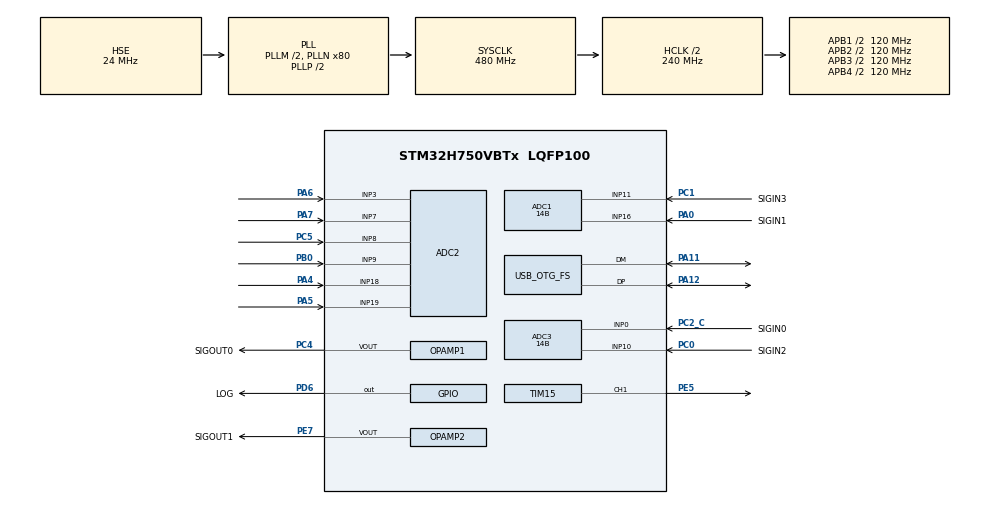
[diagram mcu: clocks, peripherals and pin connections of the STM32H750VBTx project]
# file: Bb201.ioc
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ADC1.Channel-0\#ChannelRegularConversion=ADC_CHANNEL_16
ADC1.Channel-3\#ChannelRegularConversion=ADC_CHANNEL_11
ADC1.ContinuousConvMode=DISABLE
ADC1.ConversionDataManagement=ADC_CONVERSIONDATA_DMA_CIRCULAR
ADC1.EOCSelection=ADC_EOC_SEQ_CONV
ADC1.ExternalTrigConv=ADC_EXTERNALTRIG_T6_TRGO
ADC1.NbrOfConversion=2
ADC1.NbrOfConversionFlag=1
ADC1.OffsetNumber-0\#ChannelRegularConversion=ADC_OFFSET_NONE
ADC1.OffsetNumber-3\#ChannelRegularConversion=ADC_OFFSET_NONE
ADC1.OffsetSignedSaturation-0\#ChannelRegularConversion=DISABLE
ADC1.Rank-0\#ChannelRegularConversion=1
ADC1.Rank-3\#ChannelRegularConversion=2
ADC1.Resolution=ADC_RESOLUTION_14B
ADC1.SamplingTime-0\#ChannelRegularConversion=ADC_SAMPLETIME_1CYCLE_5
ADC1.SamplingTime-3\#ChannelRegularConversion=ADC_SAMPLETIME_1CYCLE_5
ADC1.master=1
ADC2.Channel-0\#ChannelRegularConversion=ADC_CHANNEL_18
ADC2.Channel-1\#ChannelRegularConversion=ADC_CHANNEL_19
ADC2.Channel-2\#ChannelRegularConversion=ADC_CHANNEL_3
ADC2.Channel-3\#ChannelRegularConversion=ADC_CHANNEL_7
ADC2.Channel-4\#ChannelRegularConversion=ADC_CHANNEL_8
ADC2.Channel-5\#ChannelRegularConversion=ADC_CHANNEL_9
ADC2.ContinuousConvMode=DISABLE
ADC2.ConversionDataManagement=ADC_CONVERSIONDATA_DMA_CIRCULAR
ADC2.EOCSelection=ADC_EOC_SEQ_CONV
ADC2.ExternalTrigConv=ADC_EXTERNALTRIG_LPTIM3_OUT
ADC2.NbrOfConversion=6
ADC2.NbrOfConversionFlag=1
ADC2.OffsetNumber-0\#ChannelRegularConversion=ADC_OFFSET_NONE
ADC2.OffsetNumber-1\#ChannelRegularConversion=ADC_OFFSET_NONE
ADC2.OffsetNumber-2\#ChannelRegularConversion=ADC_OFFSET_NONE
ADC2.OffsetNumber-3\#ChannelRegularConversion=ADC_OFFSET_NONE
ADC2.OffsetNumber-4\#ChannelRegularConversion=ADC_OFFSET_NONE
ADC2.OffsetNumber-5\#ChannelRegularConversion=ADC_OFFSET_NONE
ADC2.OffsetSignedSaturation-0\#ChannelRegularConversion=DISABLE
ADC2.OffsetSignedSaturation-1\#ChannelRegularConversion=DISABLE
ADC2.OffsetSignedSaturation-2\#ChannelRegularConversion=DISABLE
ADC2.OffsetSignedSaturation-3\#ChannelRegularConversion=DISABLE
ADC2.OffsetSignedSaturation-4\#ChannelRegularConversion=DISABLE
ADC2.OffsetSignedSaturation-5\#ChannelRegularConversion=DISABLE
ADC2.Rank-0\#ChannelRegularConversion=1
ADC2.Rank-1\#ChannelRegularConversion=2
ADC2.Rank-2\#ChannelRegularConversion=3
ADC2.Rank-3\#ChannelRegularConversion=4
ADC2.Rank-4\#ChannelRegularConversion=5
ADC2.Rank-5\#ChannelRegularConversion=6
ADC2.SamplingTime-0\#ChannelRegularConversion=ADC_SAMPLETIME_32CYCLES_5
ADC2.SamplingTime-1\#ChannelRegularConversion=ADC_SAMPLETIME_32CYCLES_5
ADC2.SamplingTime-2\#ChannelRegularConversion=ADC_SAMPLETIME_32CYCLES_5
ADC2.SamplingTime-3\#ChannelRegularConversion=ADC_SAMPLETIME_32CYCLES_5
ADC2.SamplingTime-4\#ChannelRegularConversion=ADC_SAMPLETIME_32CYCLES_5
ADC2.SamplingTime-5\#ChannelRegularConversion=ADC_SAMPLETIME_32CYCLES_5
ADC3.Channel-0\#ChannelRegularConversion=ADC_CHANNEL_0
ADC3.Channel-3\#ChannelRegularConversion=ADC_CHANNEL_10
ADC3.ClockPrescaler=ADC_CLOCK_ASYNC_DIV1
ADC3.ContinuousConvMode=DISABLE
ADC3.ConversionDataManagement=ADC_CONVERSIONDATA_DMA_CIRCULAR
ADC3.EOCSelection=ADC_EOC_SEQ_CONV
ADC3.ExternalTrigConv=ADC_EXTERNALTRIG_T4_TRGO
ADC3.NbrOfConversion=2
ADC3.NbrOfConversionFlag=1
ADC3.OffsetNumber-0\#ChannelRegularConversion=ADC_OFFSET_NONE
ADC3.OffsetNumber-3\#ChannelRegularConversion=ADC_OFFSET_NONE
ADC3.OffsetSignedSaturation-0\#ChannelRegularConversion=DISABLE
ADC3.OversamplingMode=DISABLE
ADC3.Rank-0\#ChannelRegularConversion=1
ADC3.Rank-3\#ChannelRegularConversion=2
ADC3.Resolution=ADC_RESOLUTION_14B
ADC3.SamplingTime-0\#ChannelRegularConversion=ADC_SAMPLETIME_1CYCLE_5
ADC3.SamplingTime-3\#ChannelRegularConversion=ADC_SAMPLETIME_1CYCLE_5
ARM.CMSIS.5.7.0.CMSISJjCORE=true
ARM.CMSIS.5.7.0.CMSISJjDSP=Library
CORTEX_M7.CPU_ICache=Enabled
DAC1.DAC_Channel-DAC_OUT2_Int=DAC_CHANNEL_2
DAC1.DAC_SampleAndHold-DAC_OUT1_Int=DAC_SAMPLEANDHOLD_DISABLE
DAC1.DAC_Trigger-DAC_OUT1_Int=DAC_TRIGGER_T4_TRGO
DAC1.DAC_Trigger-DAC_OUT2_Int=DAC_TRIGGER_T6_TRGO
DAC1.DAC_UserTrimming-DAC_OUT1_Int=DAC_TRIMMING_FACTORY
Dma.ADC1.0.Direction=DMA_PERIPH_TO_MEMORY
Dma.ADC1.0.EventEnable=DISABLE
Dma.ADC1.0.FIFOMode=DMA_FIFOMODE_DISABLE
Dma.ADC1.0.Instance=DMA1_Stream1
Dma.ADC1.0.MemDataAlignment=DMA_MDATAALIGN_HALFWORD
Dma.ADC1.0.MemInc=DMA_MINC_ENABLE
Dma.ADC1.0.Mode=DMA_CIRCULAR
Dma.ADC1.0.PeriphDataAlignment=DMA_PDATAALIGN_HALFWORD
Dma.ADC1.0.PeriphInc=DMA_PINC_DISABLE
Dma.ADC1.0.Polarity=HAL_DMAMUX_REQ_GEN_RISING
Dma.ADC1.0.Priority=DMA_PRIORITY_LOW
Dma.ADC1.0.RequestNumber=1
Dma.ADC1.0.SignalID=NONE
Dma.ADC1.0.SyncEnable=DISABLE
Dma.ADC1.0.SyncPolarity=HAL_DMAMUX_SYNC_NO_EVENT
Dma.ADC1.0.SyncRequestNumber=1
Dma.ADC1.0.SyncSignalID=NONE
Dma.ADC2.2.Direction=DMA_PERIPH_TO_MEMORY
Dma.ADC2.2.EventEnable=DISABLE
Dma.ADC2.2.FIFOMode=DMA_FIFOMODE_DISABLE
Dma.ADC2.2.Instance=DMA2_Stream0
Dma.ADC2.2.MemDataAlignment=DMA_MDATAALIGN_HALFWORD
Dma.ADC2.2.MemInc=DMA_MINC_ENABLE
Dma.ADC2.2.Mode=DMA_CIRCULAR
Dma.ADC2.2.PeriphDataAlignment=DMA_PDATAALIGN_HALFWORD
Dma.ADC2.2.PeriphInc=DMA_PINC_DISABLE
Dma.ADC2.2.Polarity=HAL_DMAMUX_REQ_GEN_RISING
Dma.ADC2.2.Priority=DMA_PRIORITY_LOW
Dma.ADC2.2.RequestNumber=1
Dma.ADC2.2.SignalID=NONE
Dma.ADC2.2.SyncEnable=DISABLE
Dma.ADC2.2.SyncPolarity=HAL_DMAMUX_SYNC_NO_EVENT
Dma.ADC2.2.SyncRequestNumber=1
Dma.ADC2.2.SyncSignalID=NONE
Dma.ADC3.3.Direction=DMA_PERIPH_TO_MEMORY
Dma.ADC3.3.EventEnable=DISABLE
Dma.ADC3.3.FIFOMode=DMA_FIFOMODE_DISABLE
Dma.ADC3.3.Instance=DMA1_Stream0
Dma.ADC3.3.MemDataAlignment=DMA_MDATAALIGN_HALFWORD
Dma.ADC3.3.MemInc=DMA_MINC_ENABLE
Dma.ADC3.3.Mode=DMA_CIRCULAR
Dma.ADC3.3.PeriphDataAlignment=DMA_PDATAALIGN_HALFWORD
Dma.ADC3.3.PeriphInc=DMA_PINC_DISABLE
Dma.ADC3.3.Polarity=HAL_DMAMUX_REQ_GEN_RISING
Dma.ADC3.3.Priority=DMA_PRIORITY_LOW
Dma.ADC3.3.RequestNumber=1
Dma.ADC3.3.SignalID=NONE
Dma.ADC3.3.SyncEnable=DISABLE
Dma.ADC3.3.SyncPolarity=HAL_DMAMUX_SYNC_NO_EVENT
Dma.ADC3.3.SyncRequestNumber=1
Dma.ADC3.3.SyncSignalID=NONE
Dma.DAC1_CH1.1.Direction=DMA_MEMORY_TO_PERIPH
Dma.DAC1_CH1.1.EventEnable=DISABLE
Dma.DAC1_CH1.1.FIFOMode=DMA_FIFOMODE_DISABLE
Dma.DAC1_CH1.1.Instance=DMA1_Stream2
Dma.DAC1_CH1.1.MemDataAlignment=DMA_MDATAALIGN_HALFWORD
Dma.DAC1_CH1.1.MemInc=DMA_MINC_ENABLE
Dma.DAC1_CH1.1.Mode=DMA_CIRCULAR
Dma.DAC1_CH1.1.PeriphDataAlignment=DMA_PDATAALIGN_HALFWORD
Dma.DAC1_CH1.1.PeriphInc=DMA_PINC_DISABLE
Dma.DAC1_CH1.1.Polarity=HAL_DMAMUX_REQ_GEN_RISING
Dma.DAC1_CH1.1.Priority=DMA_PRIORITY_LOW
Dma.DAC1_CH1.1.RequestNumber=1
Dma.DAC1_CH1.1.SignalID=NONE
Dma.DAC1_CH1.1.SyncEnable=DISABLE
Dma.DAC1_CH1.1.SyncPolarity=HAL_DMAMUX_SYNC_NO_EVENT
Dma.DAC1_CH1.1.SyncRequestNumber=1
Dma.DAC1_CH1.1.SyncSignalID=NONE
Dma.Request0=ADC1
Dma.Request1=DAC1_CH1
Dma.Request2=ADC2
Dma.Request3=ADC3
LPTIM3.ClockPrescaler=LPTIM_PRESCALER_DIV128
Mcu.Family=STM32H7
Mcu.Name=STM32H750VBTx
Mcu.Package=LQFP100
Mdma.MDMA_Channel0.Request0=SW
Mdma.MDMA_Channel0.RequestsNb=1
Mdma.MDMA_Channel0.SW.0.BlockCount=0
Mdma.MDMA_Channel0.SW.0.BlockDataLength=0
Mdma.MDMA_Channel0.SW.0.BufferTransferLength=128
Mdma.MDMA_Channel0.SW.0.CircularMode=MDMA_LINEAR_LIST
Mdma.MDMA_Channel0.SW.0.DataAlignment=MDMA_DATAALIGN_PACKENABLE
Mdma.MDMA_Channel0.SW.0.DestBlockAddressOffset=0
Mdma.MDMA_Channel0.SW.0.DestBurst=MDMA_DEST_BURST_128BEATS
Mdma.MDMA_Channel0.SW.0.DestDataSize=MDMA_DEST_DATASIZE_HALFWORD
Mdma.MDMA_Channel0.SW.0.DestinationInc=MDMA_DEST_INC_HALFWORD
Mdma.MDMA_Channel0.SW.0.DstAddress=0
Mdma.MDMA_Channel0.SW.0.Endianness=MDMA_LITTLE_ENDIANNESS_PRESERVE
Mdma.MDMA_Channel0.SW.0.Instance=MDMA_Channel0
Mdma.MDMA_Channel0.SW.0.MaskAddress=0
Mdma.MDMA_Channel0.SW.0.MaskData=0
Mdma.MDMA_Channel0.SW.0.Priority=MDMA_PRIORITY_LOW
Mdma.MDMA_Channel0.SW.0.Rank=First
Mdma.MDMA_Channel0.SW.0.SourceBlockAddressOffset=0
Mdma.MDMA_Channel0.SW.0.SourceBurst=MDMA_SOURCE_BURST_128BEATS
Mdma.MDMA_Channel0.SW.0.SourceDataSize=MDMA_SRC_DATASIZE_HALFWORD
Mdma.MDMA_Channel0.SW.0.SourceInc=MDMA_SRC_INC_HALFWORD
Mdma.MDMA_Channel0.SW.0.SrcAddress=0
Mdma.MDMA_Channel0.SW.0.TransferTriggerMode=MDMA_BUFFER_TRANSFER
Mdma.MDMA_Channel1.Request0=SW
Mdma.MDMA_Channel1.RequestsNb=1
Mdma.MDMA_Channel1.SW.0.BlockCount=0
Mdma.MDMA_Channel1.SW.0.BlockDataLength=0
Mdma.MDMA_Channel1.SW.0.BufferTransferLength=128
Mdma.MDMA_Channel1.SW.0.CircularMode=MDMA_LINEAR_LIST
Mdma.MDMA_Channel1.SW.0.DataAlignment=MDMA_DATAALIGN_PACKENABLE
Mdma.MDMA_Channel1.SW.0.DestBlockAddressOffset=0
Mdma.MDMA_Channel1.SW.0.DestBurst=MDMA_DEST_BURST_128BEATS
Mdma.MDMA_Channel1.SW.0.DestDataSize=MDMA_DEST_DATASIZE_HALFWORD
Mdma.MDMA_Channel1.SW.0.DestinationInc=MDMA_DEST_INC_HALFWORD
Mdma.MDMA_Channel1.SW.0.DstAddress=0
Mdma.MDMA_Channel1.SW.0.Endianness=MDMA_LITTLE_ENDIANNESS_PRESERVE
Mdma.MDMA_Channel1.SW.0.Instance=MDMA_Channel1
Mdma.MDMA_Channel1.SW.0.MaskAddress=0
Mdma.MDMA_Channel1.SW.0.MaskData=0
Mdma.MDMA_Channel1.SW.0.Priority=MDMA_PRIORITY_LOW
Mdma.MDMA_Channel1.SW.0.Rank=First
Mdma.MDMA_Channel1.SW.0.SourceBlockAddressOffset=0
Mdma.MDMA_Channel1.SW.0.SourceBurst=MDMA_SOURCE_BURST_128BEATS
Mdma.MDMA_Channel1.SW.0.SourceDataSize=MDMA_SRC_DATASIZE_HALFWORD
Mdma.MDMA_Channel1.SW.0.SourceInc=MDMA_SRC_INC_WORD
Mdma.MDMA_Channel1.SW.0.SrcAddress=0
Mdma.MDMA_Channel1.SW.0.TransferTriggerMode=MDMA_BUFFER_TRANSFER
Mdma.RequestSet0=MDMA_Channel0
Mdma.RequestSet1=MDMA_Channel1
Mdma.RequestSetsNb=2
NVIC.DMA1_Stream0_IRQn=true\:0\:0\:false\:false\:true\:false\:true
NVIC.DMA1_Stream1_IRQn=true\:0\:0\:false\:false\:true\:false\:true
NVIC.DMA1_Stream2_IRQn=true\:0\:0\:false\:false\:true\:false\:true
NVIC.DMA2_Stream0_IRQn=true\:0\:0\:false\:false\:true\:false\:true
NVIC.MDMA_IRQn=true\:0\:0\:false\:false\:true\:true\:true
NVIC.OTG_FS_IRQn=true\:0\:0\:false\:false\:true\:false\:true
NVIC.PriorityGroup=NVIC_PRIORITYGROUP_4
NVIC.TIM15_IRQn=true\:0\:0\:false\:false\:true\:true\:true
OPAMP1.PowerMode=OPAMP_POWERMODE_HIGHSPEED
OPAMP1.SelfCalibration=Enable
OPAMP1.UserTrimming=OPAMP_TRIMMING_USER
OPAMP2.PowerMode=OPAMP_POWERMODE_HIGHSPEED
OPAMP2.SelfCalibration=Enable
OPAMP2.UserTrimming=OPAMP_TRIMMING_USER
PA0.GPIO_Label=SIGIN1
PA0.Mode=IN16-Single-Ended
PA0.Signal=ADC1_INP16
PA11.Mode=Device_Only
PA11.Signal=USB_OTG_FS_DM
PA12.Mode=Device_Only
PA12.Signal=USB_OTG_FS_DP
PA13\ (JTMS/SWDIO).Mode=Serial_Wire
PA13\ (JTMS/SWDIO).Signal=DEBUG_JTMS-SWDIO
PA14\ (JTCK/SWCLK).Mode=Serial_Wire
PA14\ (JTCK/SWCLK).Signal=DEBUG_JTCK-SWCLK
PA4.Signal=ADCx_INP18
PA5.Signal=ADCx_INP19
PA6.Signal=ADCx_INP3
PA7.Signal=ADCx_INP7
PB0.Signal=ADCx_INP9
PC0.GPIO_Label=SIGIN2
PC0.Signal=ADCx_INP10
PC1.GPIO_Label=SIGIN3
PC1.Signal=ADCx_INP11
PC2_C.GPIO_Label=SIGIN0
PC2_C.Mode=IN0-Single-Ended
PC2_C.Signal=ADC3_INP0
PC4.GPIO_Label=SIGOUT0
PC4.Mode=Follower-DAC_OUT1-INP
PC4.Signal=OPAMP1_VOUT
PC5.Signal=ADCx_INP8
PD6.GPIO_Label=LOG
PD6.Signal=GPIO_Output
PE5.Signal=S_TIM15_CH1
PE7.GPIO_Label=SIGOUT1
PE7.Mode=Follower-DAC_OUT2-INP
PE7.Signal=OPAMP2_VOUT
PH0-OSC_IN\ (PH0).Mode=HSE-External-Oscillator
PH0-OSC_IN\ (PH0).Signal=RCC_OSC_IN
PH1-OSC_OUT\ (PH1).Mode=HSE-External-Oscillator
PH1-OSC_OUT\ (PH1).Signal=RCC_OSC_OUT
ProjectManager.HeapSize=0x200
ProjectManager.StackSize=0x400
ProjectManager.TargetToolchain=STM32CubeIDE
RCC.ADCCLockSelection=RCC_ADCCLKSOURCE_PLL3
RCC.ADCFreq_Value=40000000
RCC.APB1Freq_Value=120000000
RCC.APB2Freq_Value=120000000
RCC.APB3Freq_Value=120000000
RCC.APB4Freq_Value=120000000
RCC.CKPERSourceSelection=RCC_CLKPSOURCE_HSE
RCC.CortexFreq_Value=480000000
RCC.D1PPRE=RCC_APB3_DIV2
RCC.D2PPRE1=RCC_APB1_DIV2
RCC.D2PPRE2=RCC_APB2_DIV2
RCC.D3PPRE=RCC_APB4_DIV2
RCC.DIVM1=2
RCC.DIVM2=9
RCC.DIVM3=12
RCC.DIVN1=80
RCC.DIVN2=265
RCC.DIVN3=80
RCC.DIVP2=4
RCC.DIVQ1=20
RCC.DIVQ3=4
RCC.DIVR3=4
RCC.HCLKFreq_Value=240000000
RCC.HPRE=RCC_HCLK_DIV2
RCC.HSE_VALUE=24000000
RCC.LPTIM1CLockSelection=RCC_LPTIM1CLKSOURCE_PLL2
RCC.LPTIM2CLockSelection=RCC_LPTIM2CLKSOURCE_PLL2
RCC.LPTIM345CLockSelection=RCC_LPTIM345CLKSOURCE_PLL3
RCC.PLL2FRACN=4096
RCC.PLLFRACN=0
RCC.PLLSourceVirtual=RCC_PLLSOURCE_HSE
RCC.SYSCLKFreq_VALUE=480000000
RCC.SYSCLKSource=RCC_SYSCLKSOURCE_PLLCLK
RCC.USBCLockSelection=RCC_USBCLKSOURCE_HSI48
RCC.USBFreq_Value=48000000
SH.ADCx_INP10.0=ADC3_INP10,IN10-Single-Ended
SH.ADCx_INP11.0=ADC1_INP11,IN11-Single-Ended
SH.ADCx_INP18.0=ADC2_INP18,IN18-Single-Ended
SH.ADCx_INP19.0=ADC2_INP19,IN19-Single-Ended
SH.ADCx_INP3.0=ADC2_INP3,IN3-Single-Ended
SH.ADCx_INP7.0=ADC2_INP7,IN7-Single-Ended
SH.ADCx_INP8.0=ADC2_INP8,IN8-Single-Ended
SH.ADCx_INP9.0=ADC2_INP9,IN9-Single-Ended
SH.S_TIM15_CH1.0=TIM15_CH1,PWM Generation1 CH1
TIM15.Channel-PWM\ Generation1\ CH1=TIM_CHANNEL_1
TIM15.Period=4000
TIM15.Prescaler=48000
TIM15.Pulse-PWM\ Generation1\ CH1=3800
TIM4.Period=5442
TIM4.TIM_MasterOutputTrigger=TIM_TRGO_UPDATE
TIM6.Period=5442
TIM6.TIM_MasterOutputTrigger=TIM_TRGO_UPDATE
USB_DEVICE.CLASS_NAME_FS=CDC
USB_DEVICE.VirtualMode-CDC_FS=Cdc
USB_DEVICE.VirtualModeFS=Cdc_FS
USB_OTG_FS.VirtualMode=Device_Only
VP_ARM.CMSIS_VS_CMSISJjDSP_1.8.0_5.7.0.Mode=CMSISJjDSP
VP_DAC1_VS_DACI1.Mode=DAC_OUT1_Int
VP_DAC1_VS_DACI2.Mode=DAC_OUT2_Int
VP_LPTIM3_VS_LPTIM_counterModeInternalClock.Mode=Counts__internal_clock_event_00
VP_TIM4_VS_ClockSourceINT.Mode=Internal
VP_TIM6_VS_ClockSourceINT.Mode=Enable_Timer
VP_USB_DEVICE_VS_USB_DEVICE_CDC_FS.Mode=CDC_FS
board=custom

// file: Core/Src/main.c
/* USER CODE BEGIN Header */
/**
  ******************************************************************************
  * @file           : main.c
  * @brief          : Main program body
  ******************************************************************************
  * @attention
  *
  * <h2><center>&copy; Copyright (c) 2020 STMicroelectronics.
  * All rights reserved.</center></h2>
  *
  * This software component is licensed by ST under BSD 3-Clause license,
  * the "License"; You may not use this file except in compliance with the
  * License. You may obtain a copy of the License at:
  *                        opensource.org/licenses/BSD-3-Clause
  *
  ******************************************************************************
  */
/* USER CODE END Header */
#include "main.h"
#include "usb_device.h"

ADC_HandleTypeDef hadc1;
ADC_HandleTypeDef hadc2;
ADC_HandleTypeDef hadc3;
DMA_HandleTypeDef hdma_adc1;
DMA_HandleTypeDef hdma_adc2;
DMA_HandleTypeDef hdma_adc3;

DAC_HandleTypeDef hdac1;
DMA_HandleTypeDef hdma_dac1_ch1;

LPTIM_HandleTypeDef hlptim3;

OPAMP_HandleTypeDef hopamp1;
OPAMP_HandleTypeDef hopamp2;

TIM_HandleTypeDef htim4;
TIM_HandleTypeDef htim6;
TIM_HandleTypeDef htim15;

MDMA_HandleTypeDef hmdma_mdma_channel40_sw_0;
MDMA_HandleTypeDef hmdma_mdma_channel41_sw_0;

void SystemClock_Config(void);
static void MX_GPIO_Init(void);
static void MX_DMA_Init(void);
static void MX_MDMA_Init(void);
static void MX_DAC1_Init(void);
static void MX_OPAMP1_Init(void);
static void MX_ADC1_Init(void);
static void MX_ADC3_Init(void);
static void MX_TIM15_Init(void);
static void MX_OPAMP2_Init(void);
static void MX_ADC2_Init(void);
static void MX_LPTIM3_Init(void);
static void MX_TIM6_Init(void);
static void MX_TIM4_Init(void);

/* USER CODE BEGIN 0 */
void reset_mdma(void)
{
	  MX_MDMA_Init();
}

#define Ntap 20
extern	float fFIRCoef[Ntap];
/* USER CODE END 0 */

int main(void)
{

  /* Enable I-Cache---------------------------------------------------------*/
  SCB_EnableICache();

  /* MCU Configuration--------------------------------------------------------*/

  /* Reset of all peripherals, Initializes the Flash interface and the Systick. */
  HAL_Init();

  /* Configure the system clock */
  SystemClock_Config();

  /* Initialize all configured peripherals */
  MX_GPIO_Init();
  MX_DMA_Init();
  MX_MDMA_Init();
  MX_DAC1_Init();
  MX_OPAMP1_Init();
  MX_ADC1_Init();
  MX_ADC3_Init();
  MX_TIM15_Init();
  MX_USB_DEVICE_Init();
  MX_OPAMP2_Init();
  MX_ADC2_Init();
  MX_LPTIM3_Init();
  MX_TIM6_Init();
  MX_TIM4_Init();
  /* USER CODE BEGIN 2 */
  AudioInit();
  ControlInit();
  FirInit(fFIRCoef);
  HAL_TIM_PWM_Start_IT(&htim15,TIM_CHANNEL_1);
  /* USER CODE END 2 */

  /* Infinite loop */
  /* USER CODE BEGIN WHILE */
  while (1)
  {
	  if ( audioin_buffer_ready == 1 )
	  {
		  audioin_buffer_ready = 0;
		  do_workbuf_in();
		  do_workbuf_out();
	  }
	  if ( control_ready == 1 )
	  {
		  control_ready = 0;
		  ain0 = control_buf[AIN0];
		  ain1 = control_buf[AIN1];
		  ain2 = control_buf[AIN2];
		  ain3 = control_buf[AIN3];
		  ain4 = control_buf[AIN4];
		  ain5 = control_buf[AIN5];
	  }
    /* USER CODE END WHILE */

  }
}

void SystemClock_Config(void)
{
  RCC_OscInitTypeDef RCC_OscInitStruct = {0};
  RCC_ClkInitTypeDef RCC_ClkInitStruct = {0};
  RCC_PeriphCLKInitTypeDef PeriphClkInitStruct = {0};

  /** Supply configuration update enable
  */
  HAL_PWREx_ConfigSupply(PWR_LDO_SUPPLY);
  /** Configure the main internal regulator output voltage
  */
  __HAL_PWR_VOLTAGESCALING_CONFIG(PWR_REGULATOR_VOLTAGE_SCALE0);

  while(!__HAL_PWR_GET_FLAG(PWR_FLAG_VOSRDY)) {}
  /** Macro to configure the PLL clock source
  */
  __HAL_RCC_PLL_PLLSOURCE_CONFIG(RCC_PLLSOURCE_HSE);
  /** Initializes the RCC Oscillators according to the specified parameters
  * in the RCC_OscInitTypeDef structure.
  */
  RCC_OscInitStruct.OscillatorType = RCC_OSCILLATORTYPE_HSI48|RCC_OSCILLATORTYPE_HSE;
  RCC_OscInitStruct.HSEState = RCC_HSE_ON;
  RCC_OscInitStruct.HSI48State = RCC_HSI48_ON;
  RCC_OscInitStruct.PLL.PLLState = RCC_PLL_ON;
  RCC_OscInitStruct.PLL.PLLSource = RCC_PLLSOURCE_HSE;
  RCC_OscInitStruct.PLL.PLLM = 2;
  RCC_OscInitStruct.PLL.PLLN = 80;
  RCC_OscInitStruct.PLL.PLLP = 2;
  RCC_OscInitStruct.PLL.PLLQ = 20;
  RCC_OscInitStruct.PLL.PLLR = 2;
  RCC_OscInitStruct.PLL.PLLRGE = RCC_PLL1VCIRANGE_3;
  RCC_OscInitStruct.PLL.PLLVCOSEL = RCC_PLL1VCOWIDE;
  RCC_OscInitStruct.PLL.PLLFRACN = 0;
  if (HAL_RCC_OscConfig(&RCC_OscInitStruct) != HAL_OK)
  {
    Error_Handler();
  }
  /** Initializes the CPU, AHB and APB buses clocks
  */
  RCC_ClkInitStruct.ClockType = RCC_CLOCKTYPE_HCLK|RCC_CLOCKTYPE_SYSCLK
                              |RCC_CLOCKTYPE_PCLK1|RCC_CLOCKTYPE_PCLK2
                              |RCC_CLOCKTYPE_D3PCLK1|RCC_CLOCKTYPE_D1PCLK1;
  RCC_ClkInitStruct.SYSCLKSource = RCC_SYSCLKSOURCE_PLLCLK;
  RCC_ClkInitStruct.SYSCLKDivider = RCC_SYSCLK_DIV1;
  RCC_ClkInitStruct.AHBCLKDivider = RCC_HCLK_DIV2;
  RCC_ClkInitStruct.APB3CLKDivider = RCC_APB3_DIV2;
  RCC_ClkInitStruct.APB1CLKDivider = RCC_APB1_DIV2;
  RCC_ClkInitStruct.APB2CLKDivider = RCC_APB2_DIV2;
  RCC_ClkInitStruct.APB4CLKDivider = RCC_APB4_DIV2;

  if (HAL_RCC_ClockConfig(&RCC_ClkInitStruct, FLASH_LATENCY_4) != HAL_OK)
  {
    Error_Handler();
  }
  PeriphClkInitStruct.PeriphClockSelection = RCC_PERIPHCLK_ADC|RCC_PERIPHCLK_LPTIM3
                              |RCC_PERIPHCLK_USB;
  PeriphClkInitStruct.PLL3.PLL3M = 12;
  PeriphClkInitStruct.PLL3.PLL3N = 80;
  PeriphClkInitStruct.PLL3.PLL3P = 2;
  PeriphClkInitStruct.PLL3.PLL3Q = 4;
  PeriphClkInitStruct.PLL3.PLL3R = 4;
  PeriphClkInitStruct.PLL3.PLL3RGE = RCC_PLL3VCIRANGE_1;
  PeriphClkInitStruct.PLL3.PLL3VCOSEL = RCC_PLL3VCOMEDIUM;
  PeriphClkInitStruct.PLL3.PLL3FRACN = 0;
  PeriphClkInitStruct.UsbClockSelection = RCC_USBCLKSOURCE_HSI48;
  PeriphClkInitStruct.Lptim345ClockSelection = RCC_LPTIM345CLKSOURCE_PLL3;
  PeriphClkInitStruct.AdcClockSelection = RCC_ADCCLKSOURCE_PLL3;
  if (HAL_RCCEx_PeriphCLKConfig(&PeriphClkInitStruct) != HAL_OK)
  {
    Error_Handler();
  }
  /** Enable USB Voltage detector
  */
  HAL_PWREx_EnableUSBVoltageDetector();
}

static void MX_ADC1_Init(void)
{

  ADC_MultiModeTypeDef multimode = {0};
  ADC_ChannelConfTypeDef sConfig = {0};

  /** Common config
  */
  hadc1.Instance = ADC1;
  hadc1.Init.ClockPrescaler = ADC_CLOCK_ASYNC_DIV1;
  hadc1.Init.Resolution = ADC_RESOLUTION_14B;
  hadc1.Init.ScanConvMode = ADC_SCAN_ENABLE;
  hadc1.Init.EOCSelection = ADC_EOC_SEQ_CONV;
  hadc1.Init.LowPowerAutoWait = DISABLE;
  hadc1.Init.ContinuousConvMode = DISABLE;
  hadc1.Init.NbrOfConversion = 2;
  hadc1.Init.DiscontinuousConvMode = DISABLE;
  hadc1.Init.ExternalTrigConv = ADC_EXTERNALTRIG_T6_TRGO;
  hadc1.Init.ExternalTrigConvEdge = ADC_EXTERNALTRIGCONVEDGE_RISING;
  hadc1.Init.ConversionDataManagement = ADC_CONVERSIONDATA_DMA_CIRCULAR;
  hadc1.Init.Overrun = ADC_OVR_DATA_PRESERVED;
  hadc1.Init.LeftBitShift = ADC_LEFTBITSHIFT_NONE;
  hadc1.Init.OversamplingMode = DISABLE;
  if (HAL_ADC_Init(&hadc1) != HAL_OK)
  {
    Error_Handler();
  }
  /** Configure the ADC multi-mode
  */
  multimode.Mode = ADC_MODE_INDEPENDENT;
  if (HAL_ADCEx_MultiModeConfigChannel(&hadc1, &multimode) != HAL_OK)
  {
    Error_Handler();
  }
  /** Configure Regular Channel
  */
  sConfig.Channel = ADC_CHANNEL_16;
  sConfig.Rank = ADC_REGULAR_RANK_1;
  sConfig.SamplingTime = ADC_SAMPLETIME_1CYCLE_5;
  sConfig.SingleDiff = ADC_SINGLE_ENDED;
  sConfig.OffsetNumber = ADC_OFFSET_NONE;
  sConfig.Offset = 0;
  sConfig.OffsetSignedSaturation = DISABLE;
  if (HAL_ADC_ConfigChannel(&hadc1, &sConfig) != HAL_OK)
  {
    Error_Handler();
  }
  /** Configure Regular Channel
  */
  sConfig.Channel = ADC_CHANNEL_11;
  sConfig.Rank = ADC_REGULAR_RANK_2;
  if (HAL_ADC_ConfigChannel(&hadc1, &sConfig) != HAL_OK)
  {
    Error_Handler();
  }

}

static void MX_ADC2_Init(void)
{

  ADC_ChannelConfTypeDef sConfig = {0};

  /** Common config
  */
  hadc2.Instance = ADC2;
  hadc2.Init.ClockPrescaler = ADC_CLOCK_ASYNC_DIV1;
  hadc2.Init.Resolution = ADC_RESOLUTION_16B;
  hadc2.Init.ScanConvMode = ADC_SCAN_ENABLE;
  hadc2.Init.EOCSelection = ADC_EOC_SEQ_CONV;
  hadc2.Init.LowPowerAutoWait = DISABLE;
  hadc2.Init.ContinuousConvMode = DISABLE;
  hadc2.Init.NbrOfConversion = 6;
  hadc2.Init.DiscontinuousConvMode = DISABLE;
  hadc2.Init.ExternalTrigConv = ADC_EXTERNALTRIG_LPTIM3_OUT;
  hadc2.Init.ExternalTrigConvEdge = ADC_EXTERNALTRIGCONVEDGE_RISING;
  hadc2.Init.ConversionDataManagement = ADC_CONVERSIONDATA_DMA_CIRCULAR;
  hadc2.Init.Overrun = ADC_OVR_DATA_PRESERVED;
  hadc2.Init.LeftBitShift = ADC_LEFTBITSHIFT_NONE;
  hadc2.Init.OversamplingMode = DISABLE;
  if (HAL_ADC_Init(&hadc2) != HAL_OK)
  {
    Error_Handler();
  }
  /** Configure Regular Channel
  */
  sConfig.Channel = ADC_CHANNEL_18;
  sConfig.Rank = ADC_REGULAR_RANK_1;
  sConfig.SamplingTime = ADC_SAMPLETIME_32CYCLES_5;
  sConfig.SingleDiff = ADC_SINGLE_ENDED;
  sConfig.OffsetNumber = ADC_OFFSET_NONE;
  sConfig.Offset = 0;
  sConfig.OffsetSignedSaturation = DISABLE;
  if (HAL_ADC_ConfigChannel(&hadc2, &sConfig) != HAL_OK)
  {
    Error_Handler();
  }
  /** Configure Regular Channel
  */
  sConfig.Channel = ADC_CHANNEL_19;
  sConfig.Rank = ADC_REGULAR_RANK_2;
  if (HAL_ADC_ConfigChannel(&hadc2, &sConfig) != HAL_OK)
  {
    Error_Handler();
  }
  /** Configure Regular Channel
  */
  sConfig.Channel = ADC_CHANNEL_3;
  sConfig.Rank = ADC_REGULAR_RANK_3;
  if (HAL_ADC_ConfigChannel(&hadc2, &sConfig) != HAL_OK)
  {
    Error_Handler();
  }
  /** Configure Regular Channel
  */
  sConfig.Channel = ADC_CHANNEL_7;
  sConfig.Rank = ADC_REGULAR_RANK_4;
  if (HAL_ADC_ConfigChannel(&hadc2, &sConfig) != HAL_OK)
  {
    Error_Handler();
  }
  /** Configure Regular Channel
  */
  sConfig.Channel = ADC_CHANNEL_8;
  sConfig.Rank = ADC_REGULAR_RANK_5;
  if (HAL_ADC_ConfigChannel(&hadc2, &sConfig) != HAL_OK)
  {
    Error_Handler();
  }
  /** Configure Regular Channel
  */
  sConfig.Channel = ADC_CHANNEL_9;
  sConfig.Rank = ADC_REGULAR_RANK_6;
  if (HAL_ADC_ConfigChannel(&hadc2, &sConfig) != HAL_OK)
  {
    Error_Handler();
  }

}

static void MX_ADC3_Init(void)
{

  ADC_ChannelConfTypeDef sConfig = {0};

  /** Common config
  */
  hadc3.Instance = ADC3;
  hadc3.Init.ClockPrescaler = ADC_CLOCK_ASYNC_DIV1;
  hadc3.Init.Resolution = ADC_RESOLUTION_14B;
  hadc3.Init.ScanConvMode = ADC_SCAN_ENABLE;
  hadc3.Init.EOCSelection = ADC_EOC_SEQ_CONV;
  hadc3.Init.LowPowerAutoWait = DISABLE;
  hadc3.Init.ContinuousConvMode = DISABLE;
  hadc3.Init.NbrOfConversion = 2;
  hadc3.Init.DiscontinuousConvMode = DISABLE;
  hadc3.Init.ExternalTrigConv = ADC_EXTERNALTRIG_T4_TRGO;
  hadc3.Init.ExternalTrigConvEdge = ADC_EXTERNALTRIGCONVEDGE_RISING;
  hadc3.Init.ConversionDataManagement = ADC_CONVERSIONDATA_DMA_CIRCULAR;
  hadc3.Init.Overrun = ADC_OVR_DATA_PRESERVED;
  hadc3.Init.LeftBitShift = ADC_LEFTBITSHIFT_NONE;
  hadc3.Init.OversamplingMode = DISABLE;
  if (HAL_ADC_Init(&hadc3) != HAL_OK)
  {
    Error_Handler();
  }
  /** Configure Regular Channel
  */
  sConfig.Channel = ADC_CHANNEL_0;
  sConfig.Rank = ADC_REGULAR_RANK_1;
  sConfig.SamplingTime = ADC_SAMPLETIME_1CYCLE_5;
  sConfig.SingleDiff = ADC_SINGLE_ENDED;
  sConfig.OffsetNumber = ADC_OFFSET_NONE;
  sConfig.Offset = 0;
  sConfig.OffsetSignedSaturation = DISABLE;
  if (HAL_ADC_ConfigChannel(&hadc3, &sConfig) != HAL_OK)
  {
    Error_Handler();
  }
  /** Configure Regular Channel
  */
  sConfig.Channel = ADC_CHANNEL_10;
  sConfig.Rank = ADC_REGULAR_RANK_2;
  if (HAL_ADC_ConfigChannel(&hadc3, &sConfig) != HAL_OK)
  {
    Error_Handler();
  }

}

static void MX_DAC1_Init(void)
{

  DAC_ChannelConfTypeDef sConfig = {0};

  /** DAC Initialization
  */
  hdac1.Instance = DAC1;
  if (HAL_DAC_Init(&hdac1) != HAL_OK)
  {
    Error_Handler();
  }
  /** DAC channel OUT1 config
  */
  sConfig.DAC_SampleAndHold = DAC_SAMPLEANDHOLD_DISABLE;
  sConfig.DAC_Trigger = DAC_TRIGGER_T4_TRGO;
  sConfig.DAC_OutputBuffer = DAC_OUTPUTBUFFER_DISABLE;
  sConfig.DAC_ConnectOnChipPeripheral = DAC_CHIPCONNECT_ENABLE;
  sConfig.DAC_UserTrimming = DAC_TRIMMING_FACTORY;
  if (HAL_DAC_ConfigChannel(&hdac1, &sConfig, DAC_CHANNEL_1) != HAL_OK)
  {
    Error_Handler();
  }
  /** DAC channel OUT2 config
  */
  sConfig.DAC_Trigger = DAC_TRIGGER_T6_TRGO;
  sConfig.DAC_ConnectOnChipPeripheral = DAC_CHIPCONNECT_ENABLE;
  if (HAL_DAC_ConfigChannel(&hdac1, &sConfig, DAC_CHANNEL_2) != HAL_OK)
  {
    Error_Handler();
  }

}

static void MX_LPTIM3_Init(void)
{

  hlptim3.Instance = LPTIM3;
  hlptim3.Init.Clock.Source = LPTIM_CLOCKSOURCE_APBCLOCK_LPOSC;
  hlptim3.Init.Clock.Prescaler = LPTIM_PRESCALER_DIV128;
  hlptim3.Init.Trigger.Source = LPTIM_TRIGSOURCE_SOFTWARE;
  hlptim3.Init.OutputPolarity = LPTIM_OUTPUTPOLARITY_HIGH;
  hlptim3.Init.UpdateMode = LPTIM_UPDATE_IMMEDIATE;
  hlptim3.Init.CounterSource = LPTIM_COUNTERSOURCE_INTERNAL;
  hlptim3.Init.Input1Source = LPTIM_INPUT1SOURCE_GPIO;
  if (HAL_LPTIM_Init(&hlptim3) != HAL_OK)
  {
    Error_Handler();
  }

}

static void MX_OPAMP1_Init(void)
{

  hopamp1.Instance = OPAMP1;
  hopamp1.Init.Mode = OPAMP_FOLLOWER_MODE;
  hopamp1.Init.NonInvertingInput = OPAMP_NONINVERTINGINPUT_DAC_CH;
  hopamp1.Init.PowerMode = OPAMP_POWERMODE_HIGHSPEED;
  hopamp1.Init.UserTrimming = OPAMP_TRIMMING_USER;
  hopamp1.Init.TrimmingValuePHighSpeed = 15;
  hopamp1.Init.TrimmingValueNHighSpeed = 15;
  if (HAL_OPAMP_Init(&hopamp1) != HAL_OK)
  {
    Error_Handler();
  }
  if (HAL_OPAMP_SelfCalibrate(&hopamp1) != HAL_OK)
  {
    Error_Handler();
  }

}

static void MX_OPAMP2_Init(void)
{

  hopamp2.Instance = OPAMP2;
  hopamp2.Init.Mode = OPAMP_FOLLOWER_MODE;
  hopamp2.Init.NonInvertingInput = OPAMP_NONINVERTINGINPUT_DAC_CH;
  hopamp2.Init.PowerMode = OPAMP_POWERMODE_HIGHSPEED;
  hopamp2.Init.UserTrimming = OPAMP_TRIMMING_USER;
  hopamp2.Init.TrimmingValuePHighSpeed = 15;
  hopamp2.Init.TrimmingValueNHighSpeed = 15;
  if (HAL_OPAMP_Init(&hopamp2) != HAL_OK)
  {
    Error_Handler();
  }
  if (HAL_OPAMP_SelfCalibrate(&hopamp2) != HAL_OK)
  {
    Error_Handler();
  }

}

static void MX_TIM4_Init(void)
{

  TIM_ClockConfigTypeDef sClockSourceConfig = {0};
  TIM_MasterConfigTypeDef sMasterConfig = {0};

  htim4.Instance = TIM4;
  htim4.Init.Prescaler = 0;
  htim4.Init.CounterMode = TIM_COUNTERMODE_UP;
  htim4.Init.Period = 5442;
  htim4.Init.ClockDivision = TIM_CLOCKDIVISION_DIV1;
  htim4.Init.AutoReloadPreload = TIM_AUTORELOAD_PRELOAD_DISABLE;
  if (HAL_TIM_Base_Init(&htim4) != HAL_OK)
  {
    Error_Handler();
  }
  sClockSourceConfig.ClockSource = TIM_CLOCKSOURCE_INTERNAL;
  if (HAL_TIM_ConfigClockSource(&htim4, &sClockSourceConfig) != HAL_OK)
  {
    Error_Handler();
  }
  sMasterConfig.MasterOutputTrigger = TIM_TRGO_UPDATE;
  sMasterConfig.MasterSlaveMode = TIM_MASTERSLAVEMODE_DISABLE;
  if (HAL_TIMEx_MasterConfigSynchronization(&htim4, &sMasterConfig) != HAL_OK)
  {
    Error_Handler();
  }

}

static void MX_TIM6_Init(void)
{

  TIM_MasterConfigTypeDef sMasterConfig = {0};

  htim6.Instance = TIM6;
  htim6.Init.Prescaler = 0;
  htim6.Init.CounterMode = TIM_COUNTERMODE_UP;
  htim6.Init.Period = 5442;
  htim6.Init.AutoReloadPreload = TIM_AUTORELOAD_PRELOAD_DISABLE;
  if (HAL_TIM_Base_Init(&htim6) != HAL_OK)
  {
    Error_Handler();
  }
  sMasterConfig.MasterOutputTrigger = TIM_TRGO_UPDATE;
  sMasterConfig.MasterSlaveMode = TIM_MASTERSLAVEMODE_DISABLE;
  if (HAL_TIMEx_MasterConfigSynchronization(&htim6, &sMasterConfig) != HAL_OK)
  {
    Error_Handler();
  }

}

static void MX_TIM15_Init(void)
{

  TIM_MasterConfigTypeDef sMasterConfig = {0};
  TIM_OC_InitTypeDef sConfigOC = {0};
  TIM_BreakDeadTimeConfigTypeDef sBreakDeadTimeConfig = {0};

  htim15.Instance = TIM15;
  htim15.Init.Prescaler = 48000;
  htim15.Init.CounterMode = TIM_COUNTERMODE_UP;
  htim15.Init.Period = 4000;
  htim15.Init.ClockDivision = TIM_CLOCKDIVISION_DIV1;
  htim15.Init.RepetitionCounter = 0;
  htim15.Init.AutoReloadPreload = TIM_AUTORELOAD_PRELOAD_DISABLE;
  if (HAL_TIM_PWM_Init(&htim15) != HAL_OK)
  {
    Error_Handler();
  }
  sMasterConfig.MasterOutputTrigger = TIM_TRGO_RESET;
  sMasterConfig.MasterSlaveMode = TIM_MASTERSLAVEMODE_DISABLE;
  if (HAL_TIMEx_MasterConfigSynchronization(&htim15, &sMasterConfig) != HAL_OK)
  {
    Error_Handler();
  }
  sConfigOC.OCMode = TIM_OCMODE_PWM1;
  sConfigOC.Pulse = 3800;
  sConfigOC.OCPolarity = TIM_OCPOLARITY_HIGH;
  sConfigOC.OCNPolarity = TIM_OCNPOLARITY_HIGH;
  sConfigOC.OCFastMode = TIM_OCFAST_DISABLE;
  sConfigOC.OCIdleState = TIM_OCIDLESTATE_RESET;
  sConfigOC.OCNIdleState = TIM_OCNIDLESTATE_RESET;
  if (HAL_TIM_PWM_ConfigChannel(&htim15, &sConfigOC, TIM_CHANNEL_1) != HAL_OK)
  {
    Error_Handler();
  }
  sBreakDeadTimeConfig.OffStateRunMode = TIM_OSSR_DISABLE;
  sBreakDeadTimeConfig.OffStateIDLEMode = TIM_OSSI_DISABLE;
  sBreakDeadTimeConfig.LockLevel = TIM_LOCKLEVEL_OFF;
  sBreakDeadTimeConfig.DeadTime = 0;
  sBreakDeadTimeConfig.BreakState = TIM_BREAK_DISABLE;
  sBreakDeadTimeConfig.BreakPolarity = TIM_BREAKPOLARITY_HIGH;
  sBreakDeadTimeConfig.BreakFilter = 0;
  sBreakDeadTimeConfig.AutomaticOutput = TIM_AUTOMATICOUTPUT_DISABLE;
  if (HAL_TIMEx_ConfigBreakDeadTime(&htim15, &sBreakDeadTimeConfig) != HAL_OK)
  {
    Error_Handler();
  }
  HAL_TIM_MspPostInit(&htim15);

}

static void MX_DMA_Init(void)
{

  /* DMA controller clock enable */
  __HAL_RCC_DMA1_CLK_ENABLE();
  __HAL_RCC_DMA2_CLK_ENABLE();

  /* DMA interrupt init */
  /* DMA1_Stream0_IRQn interrupt configuration */
  HAL_NVIC_SetPriority(DMA1_Stream0_IRQn, 0, 0);
  HAL_NVIC_EnableIRQ(DMA1_Stream0_IRQn);
  /* DMA1_Stream1_IRQn interrupt configuration */
  HAL_NVIC_SetPriority(DMA1_Stream1_IRQn, 0, 0);
  HAL_NVIC_EnableIRQ(DMA1_Stream1_IRQn);
  /* DMA1_Stream2_IRQn interrupt configuration */
  HAL_NVIC_SetPriority(DMA1_Stream2_IRQn, 0, 0);
  HAL_NVIC_EnableIRQ(DMA1_Stream2_IRQn);
  /* DMA2_Stream0_IRQn interrupt configuration */
  HAL_NVIC_SetPriority(DMA2_Stream0_IRQn, 0, 0);
  HAL_NVIC_EnableIRQ(DMA2_Stream0_IRQn);

}

/**
  * Enable MDMA controller clock
  * Configure MDMA for global transfers
  *   hmdma_mdma_channel40_sw_0
  *   hmdma_mdma_channel41_sw_0
  */
static void MX_MDMA_Init(void)
{

  /* MDMA controller clock enable */
  __HAL_RCC_MDMA_CLK_ENABLE();
  /* Local variables */

  /* Configure MDMA channel MDMA_Channel0 */
  /* Configure MDMA request hmdma_mdma_channel40_sw_0 on MDMA_Channel0 */
  hmdma_mdma_channel40_sw_0.Instance = MDMA_Channel0;
  hmdma_mdma_channel40_sw_0.Init.Request = MDMA_REQUEST_SW;
  hmdma_mdma_channel40_sw_0.Init.TransferTriggerMode = MDMA_BUFFER_TRANSFER;
  hmdma_mdma_channel40_sw_0.Init.Priority = MDMA_PRIORITY_LOW;
  hmdma_mdma_channel40_sw_0.Init.Endianness = MDMA_LITTLE_ENDIANNESS_PRESERVE;
  hmdma_mdma_channel40_sw_0.Init.SourceInc = MDMA_SRC_INC_HALFWORD;
  hmdma_mdma_channel40_sw_0.Init.DestinationInc = MDMA_DEST_INC_HALFWORD;
  hmdma_mdma_channel40_sw_0.Init.SourceDataSize = MDMA_SRC_DATASIZE_HALFWORD;
  hmdma_mdma_channel40_sw_0.Init.DestDataSize = MDMA_DEST_DATASIZE_HALFWORD;
  hmdma_mdma_channel40_sw_0.Init.DataAlignment = MDMA_DATAALIGN_PACKENABLE;
  hmdma_mdma_channel40_sw_0.Init.BufferTransferLength = 128;
  hmdma_mdma_channel40_sw_0.Init.SourceBurst = MDMA_SOURCE_BURST_128BEATS;
  hmdma_mdma_channel40_sw_0.Init.DestBurst = MDMA_DEST_BURST_128BEATS;
  hmdma_mdma_channel40_sw_0.Init.SourceBlockAddressOffset = 0;
  hmdma_mdma_channel40_sw_0.Init.DestBlockAddressOffset = 0;
  if (HAL_MDMA_Init(&hmdma_mdma_channel40_sw_0) != HAL_OK)
  {
    Error_Handler();
  }

  /* Configure MDMA channel MDMA_Channel1 */
  /* Configure MDMA request hmdma_mdma_channel41_sw_0 on MDMA_Channel1 */
  hmdma_mdma_channel41_sw_0.Instance = MDMA_Channel1;
  hmdma_mdma_channel41_sw_0.Init.Request = MDMA_REQUEST_SW;
  hmdma_mdma_channel41_sw_0.Init.TransferTriggerMode = MDMA_BUFFER_TRANSFER;
  hmdma_mdma_channel41_sw_0.Init.Priority = MDMA_PRIORITY_LOW;
  hmdma_mdma_channel41_sw_0.Init.Endianness = MDMA_LITTLE_ENDIANNESS_PRESERVE;
  hmdma_mdma_channel41_sw_0.Init.SourceInc = MDMA_SRC_INC_WORD;
  hmdma_mdma_channel41_sw_0.Init.DestinationInc = MDMA_DEST_INC_HALFWORD;
  hmdma_mdma_channel41_sw_0.Init.SourceDataSize = MDMA_SRC_DATASIZE_HALFWORD;
  hmdma_mdma_channel41_sw_0.Init.DestDataSize = MDMA_DEST_DATASIZE_HALFWORD;
  hmdma_mdma_channel41_sw_0.Init.DataAlignment = MDMA_DATAALIGN_PACKENABLE;
  hmdma_mdma_channel41_sw_0.Init.BufferTransferLength = 128;
  hmdma_mdma_channel41_sw_0.Init.SourceBurst = MDMA_SOURCE_BURST_128BEATS;
  hmdma_mdma_channel41_sw_0.Init.DestBurst = MDMA_DEST_BURST_128BEATS;
  hmdma_mdma_channel41_sw_0.Init.SourceBlockAddressOffset = 0;
  hmdma_mdma_channel41_sw_0.Init.DestBlockAddressOffset = 0;
  if (HAL_MDMA_Init(&hmdma_mdma_channel41_sw_0) != HAL_OK)
  {
    Error_Handler();
  }

  /* MDMA interrupt initialization */
  /* MDMA_IRQn interrupt configuration */
  HAL_NVIC_SetPriority(MDMA_IRQn, 0, 0);
  HAL_NVIC_EnableIRQ(MDMA_IRQn);

}

static void MX_GPIO_Init(void)
{
  GPIO_InitTypeDef GPIO_InitStruct = {0};

  /* GPIO Ports Clock Enable */
  __HAL_RCC_GPIOE_CLK_ENABLE();
  __HAL_RCC_GPIOH_CLK_ENABLE();
  __HAL_RCC_GPIOC_CLK_ENABLE();
  __HAL_RCC_GPIOA_CLK_ENABLE();
  __HAL_RCC_GPIOB_CLK_ENABLE();
  __HAL_RCC_GPIOD_CLK_ENABLE();

  /*Configure GPIO pin Output Level */
  HAL_GPIO_WritePin(LOG_GPIO_Port, LOG_Pin, GPIO_PIN_RESET);

  /*Configure GPIO pin : LOG_Pin */
  GPIO_InitStruct.Pin = LOG_Pin;
  GPIO_InitStruct.Mode = GPIO_MODE_OUTPUT_PP;
  GPIO_InitStruct.Pull = GPIO_NOPULL;
  GPIO_InitStruct.Speed = GPIO_SPEED_FREQ_LOW;
  HAL_GPIO_Init(LOG_GPIO_Port, &GPIO_InitStruct);

}

void Error_Handler(void)
{
}

/************************ (C) COPYRIGHT STMicroelectronics *****END OF FILE****/
